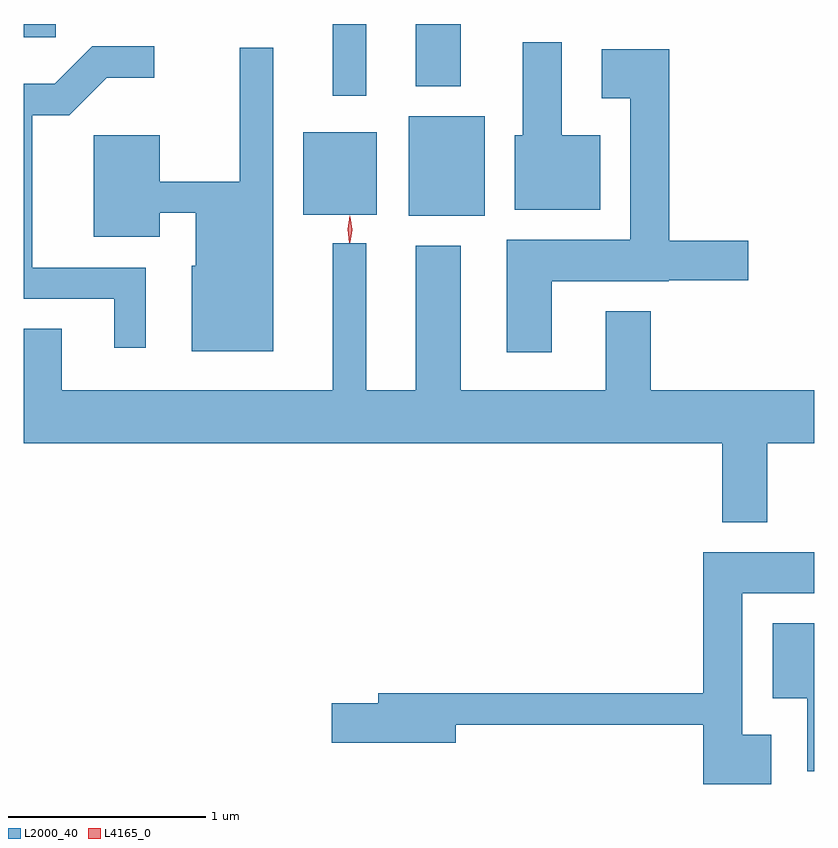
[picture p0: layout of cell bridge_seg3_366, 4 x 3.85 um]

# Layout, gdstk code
import gdstk
lib = gdstk.Library(unit=1e-6, precision=1e-09)
def R(c, l, rs):  # rectangles x0, y0, x1, y1
    for r in rs: c.add(gdstk.rectangle(r[:2], r[2:], *l))
def P(c, l, *ps):  # polygons
    for p in ps: c.add(gdstk.Polygon(p, *l))
L2000_40 = (2000, 40)
L4165_0 = (4165, 0)

bridge_seg3_366 = lib.new_cell('bridge_seg3_366')
R(bridge_seg3_366, L2000_40, [(671.496,1124.946,671.879,1125.449), (670.961,1124.951,671.334,1125.369), (671.111,1125.553,671.279,1125.917), (671.531,1125.601,671.759,1125.917), (669.547,1125.851,669.709,1125.917)])
P(bridge_seg3_366, L2000_40, [(672.464,1125.354),(672.269,1125.354),(672.269,1125.824),(672.071,1125.824),(672.071,1125.354),(672.031,1125.354),(672.031,1124.976),(672.464,1124.976)],
  [(670.164,1124.684),(669.589,1124.684),(669.589,1125.456),(669.777,1125.456),(669.967,1125.646),(670.208,1125.646),(670.208,1125.804),(669.894,1125.804),(669.704,1125.614),(669.547,1125.614),(669.547,1124.526),(670.006,1124.526),(670.006,1124.278),(670.164,1124.278)],
  [(670.809,1125.798),(670.641,1125.798),(670.641,1125.119),(670.234,1125.119),(670.234,1125.354),(669.901,1125.354),(669.901,1124.841),(670.234,1124.841),(670.234,1124.961),(670.416,1124.961),(670.416,1124.694),(670.396,1124.694),(670.396,1124.261),(670.809,1124.261)],
  [(672.219,1124.616),(672.81,1124.616),(672.81,1124.621),(673.214,1124.621),(673.214,1124.819),(672.814,1124.819),(672.814,1125.789),(672.471,1125.789),(672.471,1125.541),(672.616,1125.541),(672.616,1124.824),(671.991,1124.824),(671.991,1124.256),(672.219,1124.256)],
  [(673.309,1123.796),(673.547,1123.796),(673.547,1124.064),(672.719,1124.064),(672.719,1124.464),(672.491,1124.464),(672.491,1124.064),(671.759,1124.064),(671.759,1124.794),(671.531,1124.794),(671.531,1124.064),(671.279,1124.064),(671.279,1124.808),(671.111,1124.808),(671.111,1124.064),(669.739,1124.064),(669.739,1124.374),(669.547,1124.374),(669.547,1123.796),(673.081,1123.796),(673.081,1123.396),(673.309,1123.396)],
  [(673.329,1122.319),(673.184,1122.319),(673.184,1123.036),(673.547,1123.036),(673.547,1123.244),(672.986,1123.244),(672.986,1122.529),(671.341,1122.529),(671.341,1122.479),(671.106,1122.479),(671.106,1122.281),(671.734,1122.281),(671.734,1122.371),(672.986,1122.371),(672.986,1122.071),(673.329,1122.071)],
  [(673.547,1122.884),(673.336,1122.884),(673.336,1122.506),(673.511,1122.506),(673.511,1122.136),(673.547,1122.136)])
P(bridge_seg3_366, L4165_0, [(671.199,1124.813),(671.19,1124.877),(671.199,1124.941),(671.2,1124.942),(671.2,1124.941),(671.21,1124.877),(671.2,1124.813),(671.2,1124.813)],
  [(671.194,1124.81),(671.186,1124.878),(671.196,1124.946),(671.196,1124.946),(671.196,1124.946),(671.206,1124.878),(671.196,1124.81),(671.195,1124.81)])

lib.write_gds('bridge_seg3_366.gds')
